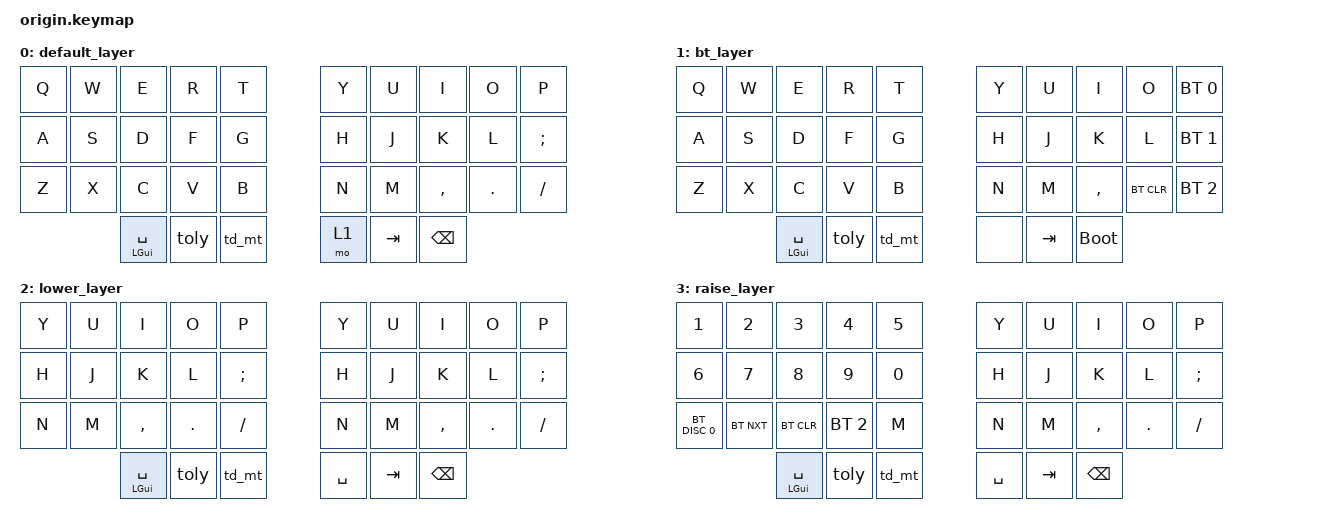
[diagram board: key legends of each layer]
#include <behaviors.dtsi>
#include <dt-bindings/zmk/keys.h>
#include <dt-bindings/zmk/bt.h>

/ {
    behaviors {
        td_mt: tap_dance_mod_tap {
            compatible = "zmk,behavior-tap-dance";
            #binding-cells = <0>;
            tapping-term-ms = <200>;
                            //hold tap, tap tap
           bindings = <&kp LSHFT>, <&kp LCTRL>, <&kp LALT>;
        };
        // spc_ent: spc_ent {
        //     compatible = "zmk,behavior-tap-dance";
        //     #binding-cells = <0>;
        //     tapping-term-ms = <200>;
        //     bindings = <&kp SPACE>, <&kp ENTER>;
        // };
        toly: to_lyr {
            compatible = "zmk,behavior-tap-dance";
            #binding-cells = <0>;
            tapping-term-ms = <200>;
            bindings =<&to 0>, <&to 1>, <&to 2>;
        };
    };

    keymap {
        compatible = "zmk,keymap";

        default_layer {
// --------------------------------------------------------------------------------------------------------------------------------------------------------------------
// |   ESC   |    Q    |    W    |    E    |    R    |    T    |                                          |    Y    |    U    |    I    |    O    |    P    |    \    |
// |   TAB   |    A    |    S    |    D    |    F    |    G    |                                          |    H    |    J    |    K    |    L    |    ;    |    '    |
// |  SHIFT  |    Z    |    X    |    C    |    V    |    B    | CTRL+A  | CTRL+C  |  |  CTRL+V |  CTRL+X |    N    |    M    |    ,    |    .    |    /    |  R CTRL |
//                               |   GUI   |   DEL   | RETURN  |  SPACE  | ESCAPE  |  |  RETURN |  SPACE  |   TAB   |   BSPC  |  R ALT  |
            bindings = <
    &kp Q    &kp W    &kp E     &kp R     &kp T                                                 &kp Y     &kp U     &kp I     &kp O     &kp P    
    &kp A    &kp S    &kp D     &kp F     &kp G                                                 &kp H     &kp J     &kp K     &kp L     &kp SEMI
    &kp Z    &kp X    &kp C     &kp V     &kp B                                                 &kp N     &kp M     &kp COMMA &kp DOT   &kp FSLH
                                &mt LGUI SPACE &toly   &td_mt                     &mo 1 &kp TAB   &kp BSPC  
            >;
                    };

        bt_layer {
// --------------------------------------------------------------------------------------------------------------------------------------------------------------------
// |   ESC   |    Q    |    W    |    E    |    R    |    T    |                                          |    Y    |    U    |    I    |    O    |    P    |    \    |
// |   TAB   |    A    |    S    |    D    |    F    |    G    |                                          |    H    |    J    |    K    |    L    |    ;    |    '    |
// |  SHIFT  |    Z    |    X    |    C    |    V    |    B    | CTRL+A  | CTRL+C  |  |  CTRL+V |  CTRL+X |    N    |    M    |    ,    |    .    |    /    |  R CTRL |
//                               |   GUI   |   DEL   | RETURN  |  SPACE  | ESCAPE  |  |  RETURN |  SPACE  |   TAB   |   BSPC  |  R ALT  |
            bindings = <
    &kp Q    &kp W    &kp E     &kp R     &kp T                                                 &kp Y     &kp U     &kp I     &kp O     &bt BT_SEL0
    &kp A    &kp S    &kp D     &kp F     &kp G                                                 &kp H     &kp J     &kp K     &kp L     &bt BT_SEL1
    &kp Z    &kp X    &kp C     &kp V     &kp B                                                 &kp N     &kp M     &kp COMMA &bt BT_CLR  &bt BT_SEL2
                                &mt LGUI SPACE &toly   &td_mt                     &none &kp TAB   &bootloader
            >;
                    };

        lower_layer {
// --------------------------------------------------------------------------------------------------------------------------------------------------------------------
// |   ESC   |    Q    |    W    |    E    |    R    |    T    |                                          |    Y    |    U    |    I    |    O    |    P    |    \    |
// |   TAB   |    A    |    S    |    D    |    F    |    G    |                                          |    H    |    J    |    K    |    L    |    ;    |    '    |
// |  SHIFT  |    Z    |    X    |    C    |    V    |    B    | CTRL+A  | CTRL+C  |  |  CTRL+V |  CTRL+X |    N    |    M    |    ,    |    .    |    /    |  R CTRL |
//                               |   GUI   |   DEL   | RETURN  |  SPACE  | ESCAPE  |  |  RETURN |  SPACE  |   TAB   |   BSPC  |  R ALT  |
            bindings = <
    &kp Y     &kp U     &kp I     &kp O     &kp P                                                  &kp Y     &kp U     &kp I     &kp O     &kp P    
    &kp H     &kp J     &kp K     &kp L     &kp SEMI                                                &kp H     &kp J     &kp K     &kp L     &kp SEMI
    &kp N     &kp M     &kp COMMA &kp DOT   &kp FSLH                                                 &kp N     &kp M     &kp COMMA &kp DOT   &kp FSLH
                            &mt LGUI SPACE &toly   &td_mt                      &kp SPACE &kp TAB   &kp BSPC
                        >;
            };

        raise_layer {
// --------------------------------------------------------------------------------------------------------------------------------------------------------------------
// |   ESC   |    Q    |    W    |    E    |    R    |    T    |                                          |    Y    |    U    |    I    |    O    |    P    |    \    |
// |   TAB   |    A    |    S    |    D    |    F    |    G    |                                          |    H    |    J    |    K    |    L    |    ;    |    '    |
// |  SHIFT  |    Z    |    X    |    C    |    V    |    B    | CTRL+A  | CTRL+C  |  |  CTRL+V |  CTRL+X |    N    |    M    |    ,    |    .    |    /    |  R CTRL |
//                               |   GUI   |   DEL   | RETURN  |  SPACE  | ESCAPE  |  |  RETURN |  SPACE  |   TAB   |   BSPC  |  R ALT  |
            bindings = <
    &kp N1     &kp N2     &kp N3  &kp N4     &kp N5                                                  &kp Y     &kp U     &kp I     &kp O     &kp P    
    &kp N6     &kp N7     &kp N8  &kp N9      &kp N0                                                &kp H     &kp J     &kp K     &kp L     &kp SEMI
    &bt BT_DISC 0 &bt BT_NXT &bt BT_CLR  &bt BT_SEL 2   &kp M                                               &kp N     &kp M     &kp COMMA &kp DOT   &kp FSLH
                         &mt LGUI SPACE  &toly  &td_mt                      &kp SPACE &kp TAB   &kp BSPC  
            >;

        };
    };
     
    combos {
        compatible = "zmk,combos";
        combo_esc {
            timeout-ms = <50>;
            key-positions = <3 13>;
            bindings = <&kp ESC>;
        };
        combo_tab {
            timeout-ms = <50>;
            key-positions = <1 11>;
            bindings = <&kp TAB>;
        };
        combo_bsp {
            timeout-ms = <50>;
            key-positions = <12 13>;
            bindings = <&kp BSPC>;
        };
        combo_boot {
            timeout-ms = <50>;
            key-positions = <1 2 3>;
            bindings = <&bootloader>;
        };
    };

};
